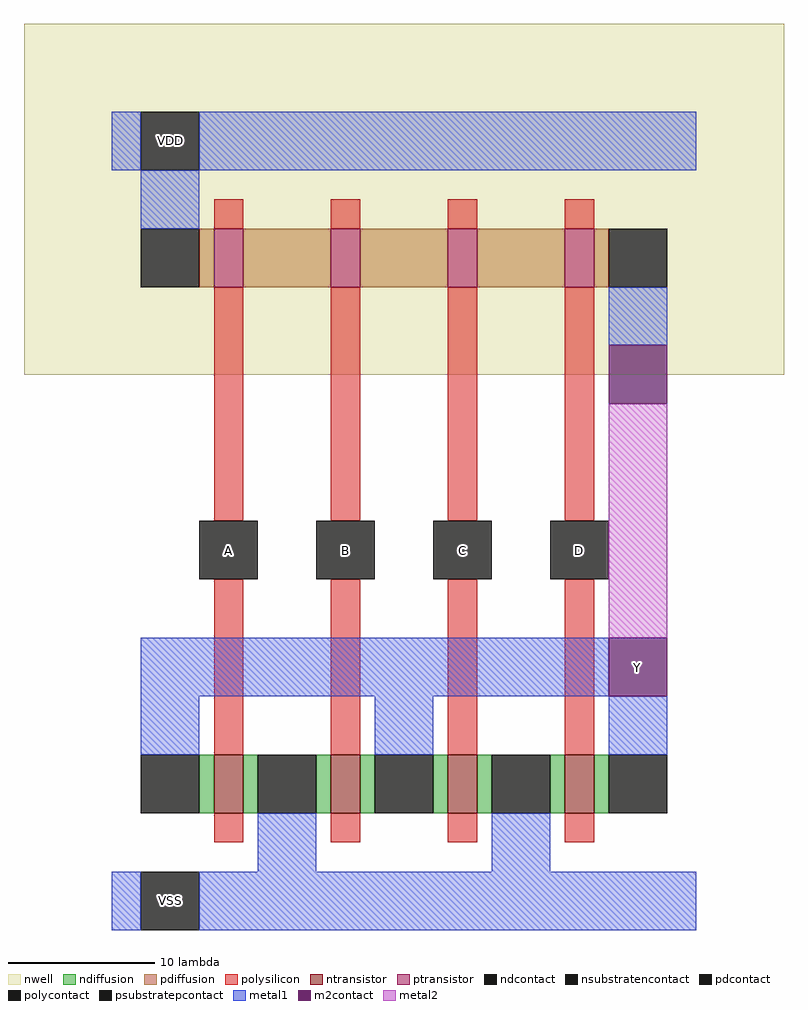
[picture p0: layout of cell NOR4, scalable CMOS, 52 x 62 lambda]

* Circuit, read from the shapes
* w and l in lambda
.subckt NOR4 A B C D VDD VSS Y
M1 VSS A Y VSS nfet w=4 l=2
M2 Y B VSS VSS nfet w=4 l=2
M3 VSS C Y VSS nfet w=4 l=2
M4 Y D VSS VSS nfet w=4 l=2
M5 n1 A VDD VDD pfet w=4 l=2
M6 n2 B n1 VDD pfet w=4 l=2
M7 n3 C n2 VDD pfet w=4 l=2
M8 Y D n3 VDD pfet w=4 l=2
.ends

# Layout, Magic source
magic
tech scmos
<< nwell >>
rect -6 38 46 62
<< ntransistor >>
rect 7 8 9 12
rect 15 8 17 12
rect 23 8 25 12
rect 31 8 33 12
<< ptransistor >>
rect 7 44 9 48
rect 15 44 17 48
rect 23 44 25 48
rect 31 44 33 48
<< ndiffusion >>
rect 6 8 7 12
rect 9 8 10 12
rect 14 8 15 12
rect 17 8 18 12
rect 22 8 23 12
rect 25 8 26 12
rect 30 8 31 12
rect 33 8 34 12
<< pdiffusion >>
rect 6 44 7 48
rect 9 44 15 48
rect 17 44 23 48
rect 25 44 31 48
rect 33 44 34 48
<< ndcontact >>
rect 2 8 6 12
rect 10 8 14 12
rect 18 8 22 12
rect 26 8 30 12
rect 34 8 38 12
<< pdcontact >>
rect 2 44 6 48
rect 34 44 38 48
<< psubstratepcontact >>
rect 2 0 6 4
<< nsubstratencontact >>
rect 2 52 6 56
<< polysilicon >>
rect 7 48 9 50
rect 15 48 17 50
rect 23 48 25 50
rect 31 48 33 50
rect 7 28 9 44
rect 15 28 17 44
rect 23 28 25 44
rect 31 28 33 44
rect 7 12 9 24
rect 15 12 17 24
rect 23 12 25 24
rect 31 12 33 24
rect 7 6 9 8
rect 15 6 17 8
rect 23 6 25 8
rect 31 6 33 8
<< polycontact >>
rect 6 24 10 28
rect 14 24 18 28
rect 22 24 26 28
rect 30 24 34 28
<< metal1 >>
rect 0 52 2 56
rect 6 52 40 56
rect 2 48 6 52
rect 34 40 38 44
rect 2 16 34 20
rect 2 12 6 16
rect 18 12 22 16
rect 34 12 38 16
rect 10 4 14 8
rect 26 4 30 8
rect 0 0 2 4
rect 6 0 40 4
<< m2contact >>
rect 34 36 38 40
rect 34 16 38 20
<< metal2 >>
rect 34 20 38 36
<< labels >>
rlabel psubstratepcontact 4 2 4 2 1 VSS
rlabel nsubstratencontact 4 54 4 54 1 VDD
rlabel polycontact 8 26 8 26 1 A
rlabel polycontact 16 26 16 26 1 B
rlabel polycontact 24 26 24 26 1 C
rlabel polycontact 32 26 32 26 1 D
rlabel m2contact 36 18 36 18 1 Y
<< end >>
